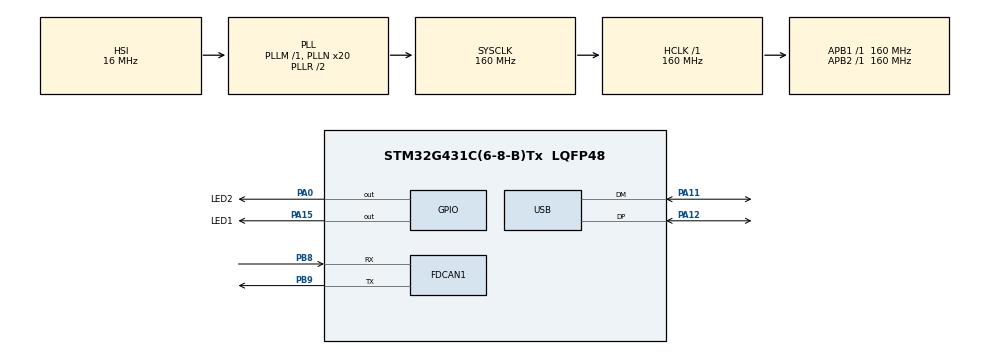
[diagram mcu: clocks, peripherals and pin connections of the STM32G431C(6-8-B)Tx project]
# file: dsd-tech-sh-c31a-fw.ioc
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FDCAN1.AutoRetransmission=ENABLE
FDCAN1.CalculateBaudRateNominal=3333333
FDCAN1.CalculateTimeBitNominal=300
FDCAN1.CalculateTimeQuantumNominal=100.0
FDCAN1.FrameFormat=FDCAN_FRAME_FD_BRS
Mcu.Family=STM32G4
Mcu.Name=STM32G431C(6-8-B)Tx
Mcu.Package=LQFP48
NVIC.PriorityGroup=NVIC_PRIORITYGROUP_4
NVIC.USB_LP_IRQn=true\:0\:0\:false\:false\:true\:false\:true\:true
PA0.GPIO_Label=LED2
PA0.PinState=GPIO_PIN_SET
PA0.Signal=GPIO_Output
PA11.Mode=Device
PA11.Signal=USB_DM
PA12.Mode=Device
PA12.Signal=USB_DP
PA15.GPIO_Label=LED1
PA15.PinState=GPIO_PIN_SET
PA15.Signal=GPIO_Output
PB8-BOOT0.Mode=FDCAN_Activate
PB8-BOOT0.Signal=FDCAN1_RX
PB9.Mode=FDCAN_Activate
PB9.Signal=FDCAN1_TX
ProjectManager.HeapSize=0x200
ProjectManager.StackSize=0x400
ProjectManager.TargetToolchain=Makefile
RCC.ADC12Freq_Value=160000000
RCC.AHBFreq_Value=160000000
RCC.APB1Freq_Value=160000000
RCC.APB1TimFreq_Value=160000000
RCC.APB2Freq_Value=160000000
RCC.APB2TimFreq_Value=160000000
RCC.CK48CLockSelection=RCC_USBCLKSOURCE_HSI48
RCC.CortexFreq_Value=160000000
RCC.EXTERNAL_CLOCK_VALUE=12288000
RCC.HCLKFreq_Value=160000000
RCC.HSE_VALUE=8000000
RCC.HSI48_VALUE=48000000
RCC.HSI_VALUE=16000000
RCC.LSE_VALUE=32768
RCC.PLLN=20
RCC.PLLQ=RCC_PLLQ_DIV4
RCC.SYSCLKFreq_VALUE=160000000
RCC.SYSCLKSource=RCC_SYSCLKSOURCE_PLLCLK
RCC.USBFreq_Value=48000000
RCC.VCOOutputFreq_Value=320000000
USB_DEVICE.CLASS_NAME_FS=CDC
USB_DEVICE.VirtualMode=Cdc
USB_DEVICE.VirtualModeFS=Cdc_FS
VP_SYS_VS_DBSignals.Mode=DisableDeadBatterySignals
VP_USB_DEVICE_VS_USB_DEVICE_CDC_FS.Mode=CDC_FS
board=custom

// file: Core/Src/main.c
/* USER CODE BEGIN Header */
/**
  ******************************************************************************
  * @file           : main.c
  * @brief          : Main program body with LED Control Module
  ******************************************************************************
  */
/* USER CODE END Header */
#include "main.h"
#include "fdcan.h"
#include "usb_device.h"
#include "gpio.h"

/* USER CODE BEGIN Includes */
#include "usbd_cdc_if.h"
#include "led_control.h"  // LED制御モジュール
#include <string.h>
#include <stdio.h>
/* USER CODE END Includes */

/* USER CODE BEGIN PD */
#define LINE_BUFFER_SIZE 64
/* USER CODE END PD */

/* USER CODE BEGIN PV */
// 行バッファリング
char line_buffer[LINE_BUFFER_SIZE];
volatile uint16_t line_pos = 0;
volatile uint8_t line_ready = 0;

// システム状態
uint8_t system_ready = 0;
uint32_t command_count = 0;
/* USER CODE END PV */

void SystemClock_Config(void);
/* USER CODE BEGIN PFP */
void USB_CDC_RxCallback(uint8_t* Buf, uint32_t Len);
void Process_Line(void);
void Safe_USB_Send(const char* str);
void System_Init(void);
/* USER CODE END PFP */

/* USER CODE BEGIN 0 */

// 安全なUSB送信（ノンブロッキング）
void Safe_USB_Send(const char* str)
{
    if (!str || !system_ready) return;

    uint16_t len = strlen(str);
    if (len > 0) {
        // ビジー状態なら送信しない（ドロップ）
        if (CDC_Transmit_FS((uint8_t*)str, len) == USBD_BUSY) {
            // 送信失敗をLED2で表示
            LED_ShowActivity();
        }
    }
}

// USB CDC受信コールバック（割り込み内なので最小限処理）
void USB_CDC_RxCallback(uint8_t* Buf, uint32_t Len)
{
    // データ受信をLED2で表示
    LED_ShowActivity();

    // 受信処理（最小限）
    for (uint32_t i = 0; i < Len && i < 16; i++) {  // 最大16文字まで
        char ch = (char)Buf[i];

        if (ch == '\r' || ch == '\n') {
            if (line_pos > 0) {
                line_buffer[line_pos] = '\0';
                line_ready = 1;
            }
            line_pos = 0;
        }
        else if (ch >= 32 && ch <= 126) {  // 印字可能文字のみ
            if (line_pos < LINE_BUFFER_SIZE - 1) {
                line_buffer[line_pos++] = ch;
            }
        }
        // その他の文字は無視
    }
}

// コマンド処理（メインループ内で実行）
void Process_Line(void)
{
    if (!line_ready) return;

    line_ready = 0;
    command_count++;

    // コマンド処理
    if (strcmp(line_buffer, "help") == 0) {
        Safe_USB_Send("canble2.0 Commands:\r\n");
        Safe_USB_Send("  help      - Show this help\r\n");
        Safe_USB_Send("  status    - Show system status\r\n");
        Safe_USB_Send("  led1      - Toggle LED1\r\n");
        Safe_USB_Send("  led2      - Toggle LED2\r\n");
        Safe_USB_Send("  heartbeat - Start/Stop LED1 heartbeat\r\n");
        Safe_USB_Send("  blink     - LED2 fast blink\r\n");
        Safe_USB_Send("  error     - Show error pattern\r\n");
        Safe_USB_Send("  reset     - System reset\r\n");
        Safe_USB_Send("No HAL_Delay() used - SysTick only!\r\n");
    }
    else if (strcmp(line_buffer, "status") == 0) {
        char status[200];
        snprintf(status, sizeof(status),
                "=== canble2.0 Status ===\r\n"
                "Uptime: %lu ms\r\n"
                "Clock: 160MHz\r\n"
                "Commands: %lu\r\n"
                "LED1 State: %s\r\n"
                "LED2 State: %s\r\n",
                HAL_GetTick(),
                command_count,
                LED_GetState(LED1) ? "ON" : "OFF",
                LED_GetState(LED2) ? "ON" : "OFF");
        Safe_USB_Send(status);
    }
    else if (strcmp(line_buffer, "led1") == 0) {
        LED_Toggle(LED1);
        char response[50];
        snprintf(response, sizeof(response), "LED1 %s\r\n",
                LED_GetState(LED1) ? "ON" : "OFF");
        Safe_USB_Send(response);
    }
    else if (strcmp(line_buffer, "led2") == 0) {
        LED_Toggle(LED2);
        char response[50];
        snprintf(response, sizeof(response), "LED2 %s\r\n",
                LED_GetState(LED2) ? "ON" : "OFF");
        Safe_USB_Send(response);
    }
    else if (strcmp(line_buffer, "heartbeat") == 0) {
        static uint8_t heartbeat_active = 1;
        heartbeat_active = !heartbeat_active;

        if (heartbeat_active) {
            LED_StartHeartbeat();
            Safe_USB_Send("Heartbeat started\r\n");
        } else {
            LED_StopHeartbeat();
            Safe_USB_Send("Heartbeat stopped\r\n");
        }
    }
    else if (strcmp(line_buffer, "blink") == 0) {
        LED_SetMode(LED2, LED_BLINK_FAST);
        Safe_USB_Send("LED2 fast blink started\r\n");
    }
    else if (strcmp(line_buffer, "error") == 0) {
        LED_ShowError();
        Safe_USB_Send("Error pattern activated\r\n");
    }
    else if (strcmp(line_buffer, "reset") == 0) {
        Safe_USB_Send("System resetting...\r\n");
        // ノンブロッキング待機
        uint32_t reset_timer = HAL_GetTick();
        while ((HAL_GetTick() - reset_timer) < 100) {
            LED_Update();
        }
        NVIC_SystemReset();
    }
    else if (strlen(line_buffer) > 0) {
        char echo[80];
        snprintf(echo, sizeof(echo), "Unknown command: '%s'\r\n", line_buffer);
        Safe_USB_Send(echo);
        Safe_USB_Send("Type 'help' for available commands\r\n");
    }

    Safe_USB_Send("> ");

    // バッファクリア
    memset(line_buffer, 0, sizeof(line_buffer));
}

// システム初期化
void System_Init(void)
{
    // LED制御モジュール初期化
    LED_Init();

    // 初期化タイマー（ノンブロッキング）
    uint32_t init_timer = HAL_GetTick();

    // USB enumeration待機（ノンブロッキング）
    while ((HAL_GetTick() - init_timer) < 1000) {
        LED_Update();  // 待機中もLED更新
        // 他の処理があればここで実行
    }

    // システム準備完了
    system_ready = 1;

    // 起動メッセージ
    Safe_USB_Send("\r\n\r\n");
    Safe_USB_Send("=== canble2.0 System Started ===\r\n");
    Safe_USB_Send("LED Control Module: Active\r\n");
    Safe_USB_Send("USB CDC: Ready\r\n");
    Safe_USB_Send("FDCAN: Initialized\r\n");
    Safe_USB_Send("SysTick-based timing: Active\r\n");
    Safe_USB_Send("Type 'help' for commands\r\n");
    Safe_USB_Send("> ");

    // ハートビート開始
    LED_StartHeartbeat();
}

/* USER CODE END 0 */

int main(void)
{

  /* MCU Configuration--------------------------------------------------------*/

  /* Reset of all peripherals, Initializes the Flash interface and the Systick. */
  HAL_Init();

  /* Configure the system clock */
  SystemClock_Config();

  /* Initialize all configured peripherals */
  MX_GPIO_Init();
  MX_FDCAN1_Init();
  MX_USB_Device_Init();
  /* USER CODE BEGIN 2 */

  // システム初期化
  System_Init();

  /* USER CODE END 2 */

  /* Infinite loop */
  while (1)
  {

    /* USER CODE BEGIN 3 */

    // コマンド処理
    Process_Line();

    // LED制御モジュール更新（独立動作）
    LED_Update();

    // CPU休止（次の割り込みまで待機）
    __WFI();

  }
  /* USER CODE END 3 */
}

void SystemClock_Config(void)
{
  RCC_OscInitTypeDef RCC_OscInitStruct = {0};
  RCC_ClkInitTypeDef RCC_ClkInitStruct = {0};

  /** Configure the main internal regulator output voltage
  */
  HAL_PWREx_ControlVoltageScaling(PWR_REGULATOR_VOLTAGE_SCALE1_BOOST);

  /** Initializes the RCC Oscillators according to the specified parameters
  * in the RCC_OscInitTypeDef structure.
  */
  RCC_OscInitStruct.OscillatorType = RCC_OSCILLATORTYPE_HSI|RCC_OSCILLATORTYPE_HSI48;
  RCC_OscInitStruct.HSIState = RCC_HSI_ON;
  RCC_OscInitStruct.HSICalibrationValue = RCC_HSICALIBRATION_DEFAULT;
  RCC_OscInitStruct.HSI48State = RCC_HSI48_ON;
  RCC_OscInitStruct.PLL.PLLState = RCC_PLL_ON;
  RCC_OscInitStruct.PLL.PLLSource = RCC_PLLSOURCE_HSI;
  RCC_OscInitStruct.PLL.PLLM = RCC_PLLM_DIV1;
  RCC_OscInitStruct.PLL.PLLN = 20;
  RCC_OscInitStruct.PLL.PLLP = RCC_PLLP_DIV2;
  RCC_OscInitStruct.PLL.PLLQ = RCC_PLLQ_DIV4;
  RCC_OscInitStruct.PLL.PLLR = RCC_PLLR_DIV2;
  if (HAL_RCC_OscConfig(&RCC_OscInitStruct) != HAL_OK)
  {
    Error_Handler();
  }

  /** Initializes the CPU, AHB and APB buses clocks
  */
  RCC_ClkInitStruct.ClockType = RCC_CLOCKTYPE_HCLK|RCC_CLOCKTYPE_SYSCLK
                              |RCC_CLOCKTYPE_PCLK1|RCC_CLOCKTYPE_PCLK2;
  RCC_ClkInitStruct.SYSCLKSource = RCC_SYSCLKSOURCE_PLLCLK;
  RCC_ClkInitStruct.AHBCLKDivider = RCC_SYSCLK_DIV1;
  RCC_ClkInitStruct.APB1CLKDivider = RCC_HCLK_DIV1;
  RCC_ClkInitStruct.APB2CLKDivider = RCC_HCLK_DIV1;

  if (HAL_RCC_ClockConfig(&RCC_ClkInitStruct, FLASH_LATENCY_4) != HAL_OK)
  {
    Error_Handler();
  }
}

void Error_Handler(void)
{
  /* USER CODE BEGIN Error_Handler_Debug */
  /* User can add his own implementation to report the HAL error return state */

  // LED制御モジュールでエラーパターン表示
  LED_ShowError();

  __disable_irq();
  while (1)
  {
  }
  /* USER CODE END Error_Handler_Debug */
}
